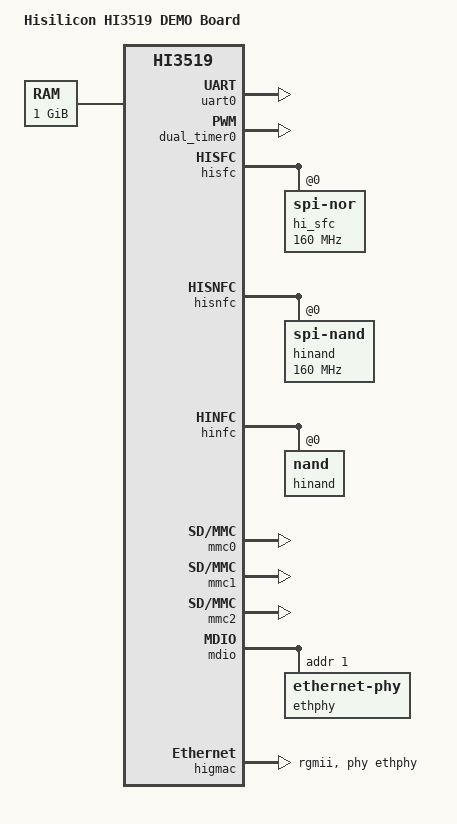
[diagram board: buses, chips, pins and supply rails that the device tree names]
/*
 * Copyright (c) 2013-2014 Linaro Ltd.
 * Copyright (c) 2015 HiSilicon Technologies Co., Ltd.
 *
 * This program is free software; you can redistribute  it and/or modify it
 * under  the terms of  the GNU General  Public License as published by the
 * Free Software Foundation;  either version 2 of the  License, or (at your
 * option) any later version.
 *
 * This program is distributed in the hope that it will be useful,
 * but WITHOUT ANY WARRANTY; without even the implied warranty of
 * MERCHANTABILITY or FITNESS FOR A PARTICULAR PURPOSE. See the
 * GNU General Public License for more details.
 *
 * You should have received a copy of the GNU General Public License
 * along with this program.  If not, see <http://www.gnu.org/licenses/>.
 *
 */

/dts-v1/;
#include "hisi-hi3519.dtsi"

/ {
	model = "Hisilicon HI3519 DEMO Board";
	compatible = "hisilicon,hi3519";

	chosen {
		bootargs = "console=ttyAMA0,115200 early_printk
root=/dev/mtdblock2 rootfstype=jffs2 mtdparts=hi_sfc:1M(boot),
4M(kernel),11M(rootfs)";
	};

	cpus {
		#address-cells = <1>;
		#size-cells = <0>;
		enable-method = "hisilicon,hi3519-smp";

		cpu@0 {
			compatible = "arm,cortex-a7";
			device_type = "cpu";
			clock-frequency = <HI3519_FIXED_792M>;
			reg = <0>;
			cci-control-port = <&cci_control0>;
		};

		cpu@100 {
			compatible = "arm,cortex-a17";
			device_type = "cpu";
			reg = <0x100>;
			cci-control-port = <&cci_control1>;
#if 1
			operating-points = <
				/* KHz    uV */
				1150000 1000000
				1000000 960000
				 880000 920000
				 792000 890000
				 594000 830000
				>;
			clocks = <&clock HI3519_A17_MUX>,
				<&clock HI3519_FIXED_400M>,
				<&clock HI3519_FIXED_500M>,
				<&clock HI3519_FIXED_594M>,
				<&clock HI3519_FIXED_792M>,
				<&clock HI3519_FIXED_1000M>,
				<&clock HI3519_APLL_CLK>;
			clock-names = "a17_mux","400m", "500m",
					"594m", "792m","1000m", "apll";
			vcc-supply = <&a17_regulator>;
#endif
		};
	};

	avs {
	    compatible = "hi3519,avs";
	    avs-num = <2>;
	    avs-name-array = "cpu-avs","media-avs";
	    cpu_avs: cpu_avs{
		avs-name = "cpu-avs";
			opp-num = <5>;
			opp-freq = <1150000 1000000 880000 792000 594000 >;
			opp-volt-min = <800000 750000 720000 700000 670000 >;
			opp-hpm = <305 290 270 240 220 >;
			opp-div = <22 19 17 15 11 >;
			opp-volt-max = <1000000>;
			};

	    media_avs: media_avs{
			avs-name = "media-avs";
			opp-num = <1>;
			opp-freq = <1>;
			opp-volt-min = <750000>;
			opp-hpm = <260>;
			opp-div = <3>;
			opp-volt-max = <950000>;
			};
	};

	memory {
		device_type = "memory";
		reg = <0x80000000 0x40000000>;
	};
};

&uart0 {
	status = "okay";
};

&dual_timer0 {
	status = "okay";
};

&hisfc {
	hi_sfc {
		compatible = "jedec,spi-nor";
		reg = <0>;
		spi-max-frequency = <160000000>;
		m25p,fast-read;
	};
};

&hisnfc {
	hinand {
		compatible = "jedec,spi-nand";
		reg = <0>;
		spi-max-frequency = <160000000>;
	};
};

&hinfc {
	hinand {
		compatible = "jedec,nand";
		reg = <0>;
		nand-max-frequency = <200000000>;
	};
};

&mmc0 {
	status = "okay";
};

&mmc1 {
	status = "okay";
};

&mmc2 {
	status = "okay";
};

&mdio {
	ethphy: ethernet-phy@1 {
		reg = <1>;
	};
};

&higmac {
	phy-handle = <&ethphy>;
	phy-mode = "rgmii";
};
